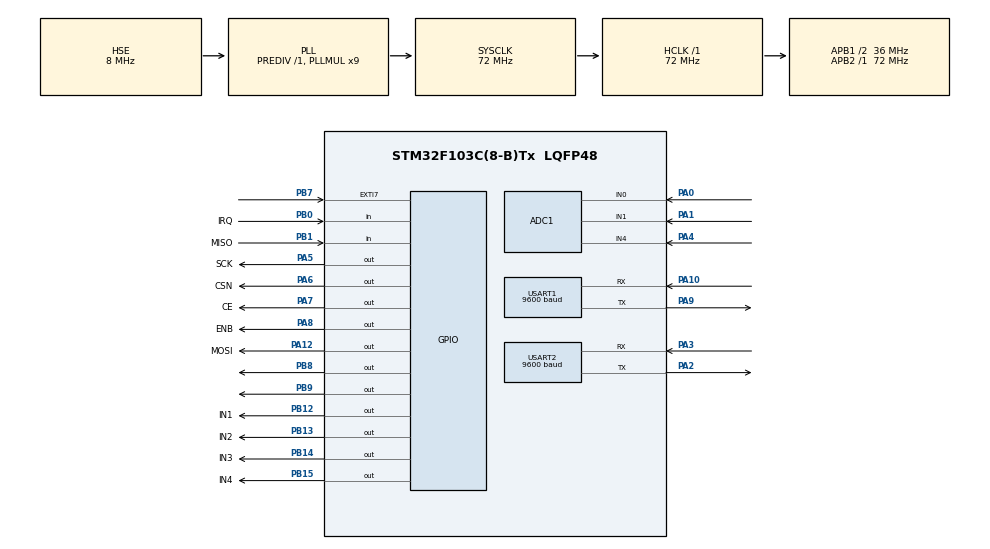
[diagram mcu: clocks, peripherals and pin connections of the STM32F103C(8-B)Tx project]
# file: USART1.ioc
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ADC1.Channel-0\#ChannelRegularConversion=ADC_CHANNEL_0
ADC1.Channel-1\#ChannelRegularConversion=ADC_CHANNEL_1
ADC1.Channel-2\#ChannelRegularConversion=ADC_CHANNEL_4
ADC1.Channel-3\#ChannelRegularConversion=ADC_CHANNEL_5
ADC1.Channel-4\#ChannelRegularConversion=ADC_CHANNEL_6
ADC1.DiscontinuousConvMode=ENABLE
ADC1.NbrOfConversion=5
ADC1.NbrOfConversionFlag=1
ADC1.Rank-0\#ChannelRegularConversion=1
ADC1.Rank-1\#ChannelRegularConversion=2
ADC1.Rank-2\#ChannelRegularConversion=3
ADC1.Rank-3\#ChannelRegularConversion=4
ADC1.Rank-4\#ChannelRegularConversion=5
ADC1.SamplingTime-0\#ChannelRegularConversion=ADC_SAMPLETIME_1CYCLE_5
ADC1.SamplingTime-1\#ChannelRegularConversion=ADC_SAMPLETIME_1CYCLE_5
ADC1.SamplingTime-2\#ChannelRegularConversion=ADC_SAMPLETIME_1CYCLE_5
ADC1.SamplingTime-3\#ChannelRegularConversion=ADC_SAMPLETIME_1CYCLE_5
ADC1.SamplingTime-4\#ChannelRegularConversion=ADC_SAMPLETIME_1CYCLE_5
ADC1.master=1
Dma.Request0=USART2_RX
Dma.USART2_RX.0.Direction=DMA_PERIPH_TO_MEMORY
Dma.USART2_RX.0.Instance=DMA1_Channel6
Dma.USART2_RX.0.MemDataAlignment=DMA_MDATAALIGN_BYTE
Dma.USART2_RX.0.MemInc=DMA_MINC_ENABLE
Dma.USART2_RX.0.Mode=DMA_NORMAL
Dma.USART2_RX.0.PeriphDataAlignment=DMA_PDATAALIGN_BYTE
Dma.USART2_RX.0.PeriphInc=DMA_PINC_DISABLE
Dma.USART2_RX.0.Priority=DMA_PRIORITY_LOW
FREERTOS.Tasks01=defaultTask,24,128,StartDefaultTask,Default,NULL,Dynamic,NULL,NULL
Mcu.Family=STM32F1
Mcu.Name=STM32F103C(8-B)Tx
Mcu.Package=LQFP48
NVIC.DMA1_Channel6_IRQn=true\:5\:0\:false\:false\:true\:true\:false\:true\:true
NVIC.EXTI9_5_IRQn=true\:5\:0\:false\:false\:true\:true\:true\:true\:true
NVIC.PriorityGroup=NVIC_PRIORITYGROUP_4
NVIC.TIM2_IRQn=true\:15\:0\:false\:false\:true\:false\:false\:true\:true
NVIC.TimeBase=TIM2_IRQn
NVIC.TimeBaseIP=TIM2
NVIC.USART1_IRQn=true\:5\:0\:false\:false\:true\:true\:true\:true\:true
NVIC.USART2_IRQn=true\:5\:0\:false\:false\:true\:true\:true\:true\:true
PA0-WKUP.Signal=ADCx_IN0
PA1.Signal=ADCx_IN1
PA10.Mode=Asynchronous
PA10.Signal=USART1_RX
PA12.GPIO_Label=MOSI
PA12.GPIO_Speed=GPIO_SPEED_FREQ_HIGH
PA12.Signal=GPIO_Output
PA13.Mode=Serial_Wire
PA13.Signal=SYS_JTMS-SWDIO
PA14.Mode=Serial_Wire
PA14.Signal=SYS_JTCK-SWCLK
PA2.Mode=Asynchronous
PA2.Signal=USART2_TX
PA3.Mode=Asynchronous
PA3.Signal=USART2_RX
PA4.Signal=ADCx_IN4
PA5.GPIO_Label=SCK
PA5.GPIO_Speed=GPIO_SPEED_FREQ_HIGH
PA5.Signal=GPIO_Output
PA6.GPIO_Label=CSN
PA6.GPIO_Speed=GPIO_SPEED_FREQ_HIGH
PA6.Signal=GPIO_Output
PA7.GPIO_Label=CE
PA7.GPIO_Speed=GPIO_SPEED_FREQ_HIGH
PA7.Signal=GPIO_Output
PA8.GPIO_Label=ENB
PA8.GPIO_ModeDefaultOutputPP=GPIO_MODE_OUTPUT_PP
PA8.Signal=GPIO_Output
PA9.Mode=Asynchronous
PA9.Signal=USART1_TX
PB0.GPIO_Label=IRQ
PB0.GPIO_PuPd=GPIO_PULLUP
PB0.Signal=GPIO_Input
PB1.GPIO_Label=MISO
PB1.GPIO_PuPd=GPIO_PULLUP
PB1.Signal=GPIO_Input
PB12.GPIO_Label=IN1
PB12.GPIO_ModeDefaultOutputPP=GPIO_MODE_OUTPUT_PP
PB12.GPIO_Speed=GPIO_SPEED_FREQ_LOW
PB12.PinState=GPIO_PIN_RESET
PB12.Signal=GPIO_Output
PB13.GPIO_Label=IN2
PB13.GPIO_ModeDefaultOutputPP=GPIO_MODE_OUTPUT_PP
PB13.Signal=GPIO_Output
PB14.GPIO_Label=IN3
PB14.Signal=GPIO_Output
PB15.GPIO_Label=IN4
PB15.GPIO_Speed=GPIO_SPEED_FREQ_LOW
PB15.Signal=GPIO_Output
PB7.GPIO_ModeDefaultEXTI=GPIO_MODE_IT_RISING
PB7.GPIO_PuPd=GPIO_PULLUP
PB7.Signal=GPXTI7
PB8.GPIO_ModeDefaultOutputPP=GPIO_MODE_OUTPUT_OD
PB8.GPIO_PuPd=GPIO_NOPULL
PB8.Signal=GPIO_Output
PB9.GPIO_ModeDefaultOutputPP=GPIO_MODE_OUTPUT_OD
PB9.GPIO_PuPd=GPIO_NOPULL
PB9.Signal=GPIO_Output
PC14-OSC32_IN.Mode=LSE-External-Oscillator
PC14-OSC32_IN.Signal=RCC_OSC32_IN
PC15-OSC32_OUT.Mode=LSE-External-Oscillator
PC15-OSC32_OUT.Signal=RCC_OSC32_OUT
PD0-OSC_IN.Mode=HSE-External-Oscillator
PD0-OSC_IN.Signal=RCC_OSC_IN
PD1-OSC_OUT.Mode=HSE-External-Oscillator
PD1-OSC_OUT.Signal=RCC_OSC_OUT
ProjectManager.HeapSize=0x200
ProjectManager.StackSize=0x400
ProjectManager.TargetToolchain=MDK-ARM V5.32
RCC.ADCPresc=RCC_ADCPCLK2_DIV6
RCC.AHBFreq_Value=72000000
RCC.APB1CLKDivider=RCC_HCLK_DIV2
RCC.APB1Freq_Value=36000000
RCC.APB1TimFreq_Value=72000000
RCC.APB2Freq_Value=72000000
RCC.APB2TimFreq_Value=72000000
RCC.HCLKFreq_Value=72000000
RCC.PLLMUL=RCC_PLL_MUL9
RCC.PLLSourceVirtual=RCC_PLLSOURCE_HSE
RCC.SYSCLKFreq_VALUE=72000000
RCC.SYSCLKSource=RCC_SYSCLKSOURCE_PLLCLK
RCC.USBFreq_Value=72000000
SH.ADCx_IN0.0=ADC1_IN0,IN0
SH.ADCx_IN1.0=ADC1_IN1,IN1
SH.ADCx_IN4.0=ADC1_IN4,IN4
USART1.BaudRate=9600
USART1.VirtualMode=VM_ASYNC
USART2.BaudRate=9600
USART2.VirtualMode=VM_ASYNC
VP_FREERTOS_VS_CMSIS_V2.Mode=CMSIS_V2
VP_SYS_VS_tim2.Mode=TIM2
board=custom

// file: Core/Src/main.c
/* USER CODE BEGIN Header */
/**
  ******************************************************************************
  * @file           : main.c
  * @brief          : Main program body
  ******************************************************************************
  * @attention
  *
  * Copyright (c) 2024 STMicroelectronics.
  * All rights reserved.
  *
  * This software is licensed under terms that can be found in the LICENSE file
  * in the root directory of this software component.
  * If no LICENSE file comes with this software, it is provided AS-IS.
  *
  ******************************************************************************
  */
/* USER CODE END Header */
#include "main.h"
#include "cmsis_os.h"
#include "adc.h"
#include "dma.h"
#include "usart.h"
#include "gpio.h"

/* USER CODE BEGIN Includes */
#include "OLED.h"
#include <stdio.h>
#include <string.h>
#include "LED.h"
#include "nbiotdriver.h"
#include "cjson.h"
#include "sensor.h"
#include "NRF24L01.h"
#include "L298N.h"
#include "ps.h"
#include "stdlib.h"
#include "unix.h"
/* USER CODE END Includes */

/* USER CODE BEGIN PTD */

void printf_show(void);
void Motor_show(void);

/* USER CODE END PTD */

void SystemClock_Config(void);
void MX_FREERTOS_Init(void);

/* USER CODE BEGIN 0 */
uint8_t count = 0;
uint8_t EXIT_Flag = 0;
extern TaskHandle_t  NB_IOT_task_handler;
extern uint8_t taskSuspend ;
/* USER CODE END 0 */

int main(void)
{

  /* MCU Configuration--------------------------------------------------------*/

  /* Reset of all peripherals, Initializes the Flash interface and the Systick. */
  HAL_Init();

  /* Configure the system clock */
  SystemClock_Config();

  /* Initialize all configured peripherals */
  MX_GPIO_Init();
  MX_DMA_Init();
  MX_USART1_UART_Init();
  MX_USART2_UART_Init();
  MX_ADC1_Init();
  /* USER CODE BEGIN 2 */
	uint32_t count = 0;
	HAL_ADCEx_Calibration_Start(&hadc1);
	OLED_Init();
    NRF24L01_Init();
	printf("system is ok!\r\n");
	printf("wait 5s NB!\r\n");
	cJSON_Hooks hooks;
	hooks.malloc_fn = pvPortMalloc;
	hooks.free_fn = vPortFree;
	cJSON_InitHooks(&hooks);
  /* USER CODE END 2 */

  /* Init scheduler */
  osKernelInitialize();

  /* Call init function for freertos objects (in freertos.c) */
  MX_FREERTOS_Init();

  /* Start scheduler */
  osKernelStart();

  /* We should never get here as control is now taken by the scheduler */
  /* Infinite loop */
  /* USER CODE BEGIN WHILE */
    while (1)
    {
		printf("count����%d\r\n",count++);
		HAL_Delay(4000);
//		printf("%s\r\n",cPrint);
//       Show_Sersor_Value();
//        if(R_IRQ() == 0)
//		{
//		  printf_show();
//		  Motor_show();
//		}
    /* USER CODE END WHILE */

    }
}

void SystemClock_Config(void)
{
  RCC_OscInitTypeDef RCC_OscInitStruct = {0};
  RCC_ClkInitTypeDef RCC_ClkInitStruct = {0};
  RCC_PeriphCLKInitTypeDef PeriphClkInit = {0};

  /** Initializes the RCC Oscillators according to the specified parameters
  * in the RCC_OscInitTypeDef structure.
  */
  RCC_OscInitStruct.OscillatorType = RCC_OSCILLATORTYPE_HSE;
  RCC_OscInitStruct.HSEState = RCC_HSE_ON;
  RCC_OscInitStruct.HSEPredivValue = RCC_HSE_PREDIV_DIV1;
  RCC_OscInitStruct.HSIState = RCC_HSI_ON;
  RCC_OscInitStruct.PLL.PLLState = RCC_PLL_ON;
  RCC_OscInitStruct.PLL.PLLSource = RCC_PLLSOURCE_HSE;
  RCC_OscInitStruct.PLL.PLLMUL = RCC_PLL_MUL9;
  if (HAL_RCC_OscConfig(&RCC_OscInitStruct) != HAL_OK)
  {
    Error_Handler();
  }

  /** Initializes the CPU, AHB and APB buses clocks
  */
  RCC_ClkInitStruct.ClockType = RCC_CLOCKTYPE_HCLK|RCC_CLOCKTYPE_SYSCLK
                              |RCC_CLOCKTYPE_PCLK1|RCC_CLOCKTYPE_PCLK2;
  RCC_ClkInitStruct.SYSCLKSource = RCC_SYSCLKSOURCE_PLLCLK;
  RCC_ClkInitStruct.AHBCLKDivider = RCC_SYSCLK_DIV1;
  RCC_ClkInitStruct.APB1CLKDivider = RCC_HCLK_DIV2;
  RCC_ClkInitStruct.APB2CLKDivider = RCC_HCLK_DIV1;

  if (HAL_RCC_ClockConfig(&RCC_ClkInitStruct, FLASH_LATENCY_2) != HAL_OK)
  {
    Error_Handler();
  }
  PeriphClkInit.PeriphClockSelection = RCC_PERIPHCLK_ADC;
  PeriphClkInit.AdcClockSelection = RCC_ADCPCLK2_DIV6;
  if (HAL_RCCEx_PeriphCLKConfig(&PeriphClkInit) != HAL_OK)
  {
    Error_Handler();
  }
}

/* USER CODE BEGIN 4 */
int fputc(int ch, FILE *f)
{
    HAL_UART_Transmit(&huart1, (uint8_t *)&ch, 1, 0xffff);
    return ch;
}

void HAL_GPIO_EXTI_Callback(uint16_t GPIO_Pin)
{

	if(GPIO_Pin == GPIO_PIN_7)
	{
	   BaseType_t xHigherPriorityTaskWoken = pdFALSE;
	   if(NB_IOT_task_handler != NULL)
	   {
	        if( xTaskResumeFromISR( NB_IOT_task_handler ) != pdFALSE )
			{
				xHigherPriorityTaskWoken = pdTRUE;
				printf("���񱻹��𣡣���\r\n");
				NB_Send_Data();
				taskSuspend = 0;
				portYIELD_FROM_ISR( xHigherPriorityTaskWoken );
			}
	   }

		count++;
		printf("count����%d��������\r\n",count) ;
	}

}

/* USER CODE END 4 */

void HAL_TIM_PeriodElapsedCallback(TIM_HandleTypeDef *htim)
{
  /* USER CODE BEGIN Callback 0 */
  uint8_t count = 0;

  /* USER CODE END Callback 0 */
  if (htim->Instance == TIM2) {
    HAL_IncTick();
  }
  /* USER CODE BEGIN Callback 1 */
//    if (htim->Instance == TIM2)
//   {
//		count++;
//     if(count == 4)
//	 {
//	    printf("2s �ж�  ��������\r\n") ;
//		count = 0;
//	 }
//
//    }
  /* USER CODE END Callback 1 */
}

void Error_Handler(void)
{
    __disable_irq();
    while (1)
    {
    }
}

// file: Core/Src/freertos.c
/* USER CODE BEGIN Header */
/**
  ******************************************************************************
  * File Name          : freertos.c
  * Description        : Code for freertos applications
  ******************************************************************************
  * @attention
  *
  * Copyright (c) 2024 STMicroelectronics.
  * All rights reserved.
  *
  * This software is licensed under terms that can be found in the LICENSE file
  * in the root directory of this software component.
  * If no LICENSE file comes with this software, it is provided AS-IS.
  *
  ******************************************************************************
  */
/* USER CODE END Header */

#include "FreeRTOS.h"
#include "task.h"
#include "main.h"
#include "cmsis_os.h"

/* USER CODE BEGIN Includes */
#include "semphr.h"
#include "queue.h"
#include "OLED.h"
#include "stdio.h"
#include "sensor.h"
#include "nbiotdriver.h"
#include "usart.h"
#include "cjson.h"
#include <string.h>
#include "NRF24L01.h"
#include "L298N.h"
/* USER CODE END Includes */

/* USER CODE BEGIN Variables */
void Motor_show(void);
void printf_show(void);
void Motor_Iot_show(void);
void printf_Iot_show(void);
/*任务配,堆栈内存大小,任务优先级*/

/*START_TASK任务,创建其他两个任务*/

void START_TASK( void * pvParameters );
#define START_TASK_PRIO         osPriorityNormal
#define START_TASK_STACK_SIZE   128
TaskHandle_t  START_TASK_handler;

void NB_IOT_task( void * pvParameters );
#define NB_IOT_task_PRIO         osPriorityNormal
#define NB_IOT_task_STACK_SIZE   1000
TaskHandle_t  NB_IOT_task_handler;

void Motor_task( void * pvParameters );
#define Motor_task_PRIO         osPriorityNormal + 2
#define Motor_task_STACK_SIZE   128
TaskHandle_t  Motor_task_handler;

void Sensor_task(void * pvParameters );
#define Sensor_task_PRIO         osPriorityNormal
#define Sensor_task_STACK_SIZE   128
TaskHandle_t  Sensor_task_handler;

void Resume_task2(void * pvParameters );
#define Resume_task2_PRIO         osPriorityNormal + 2
#define Resume_task2_STACK_SIZE   128
TaskHandle_t  Resume_task2_handler;

#define Xleft    	     1
#define Xright           2
#define Ybefore    	   	 3
#define Yaffer    		 4

uint8_t Buf[32] = {0} ;
extern uint8_t taskSuspend;
QueueHandle_t semphore_handle;
QueueHandle_t semphore_Flag_handle;
extern uint8_t send_data_flag;
extern uint8_t EXIT_Flag;
extern uint8_t Motor_Data;

/* USER CODE END Variables */
/* Definitions for defaultTask */
osThreadId_t defaultTaskHandle;
const osThreadAttr_t defaultTask_attributes = {
  .name = "defaultTask",
  .stack_size = 128 * 4,
  .priority = (osPriority_t) osPriorityNormal,
};

void StartDefaultTask(void *argument);

void MX_FREERTOS_Init(void); /* (MISRA C 2004 rule 8.1) */

void MX_FREERTOS_Init(void) {

  /* Create the thread(s) */
	semphore_handle = xSemaphoreCreateBinary();
	 if(semphore_handle != NULL)
	 {
		printf("二值信号量创建成功！！！！\r\n");
	 }
	 semphore_Flag_handle = xSemaphoreCreateBinary();
	 if(semphore_Flag_handle != NULL)
	 {
		printf("二值信号量创建成功！！！！\r\n");
	 }
  /* creation of defaultTask */
  defaultTaskHandle = osThreadNew(StartDefaultTask, NULL, &defaultTask_attributes);

  /* USER CODE BEGIN RTOS_THREADS */
    /* add threads, ... */
  xTaskCreate((TaskFunction_t)START_TASK,"START_TASK",START_TASK_STACK_SIZE,NULL,START_TASK_PRIO,&START_TASK_handler);
  /* USER CODE END RTOS_THREADS */

}

void StartDefaultTask(void *argument)
{
  /* USER CODE BEGIN StartDefaultTask */
//	OLED_Clear();
    uint32_t StartDefault_num = 0;
    uint32_t count = 0;

//
    /* Infinite loop */
    for(;;)
    {
		 printf("StartDefault运行次数:%d！！！!\r\n",++StartDefault_num);
         vTaskDelay(1000);
	}

//		OLED_ShowNum(2,1,count++,3);

  /* USER CODE END StartDefaultTask */
}

/* USER CODE BEGIN Application */

void START_TASK( void * pvParameters )
{
    taskENTER_CRITICAL();
    xTaskCreate((TaskFunction_t)NB_IOT_task,"NB_IOT_task",NB_IOT_task_STACK_SIZE,NULL,NB_IOT_task_PRIO,&NB_IOT_task_handler);
    xTaskCreate((TaskFunction_t)Sensor_task,"Sensor_task",Sensor_task_STACK_SIZE,NULL,Sensor_task_PRIO,&Sensor_task_handler);
	xTaskCreate((TaskFunction_t)Resume_task2,"Resume_task2",Resume_task2_STACK_SIZE,NULL,Resume_task2_PRIO,&Resume_task2_handler);
	xTaskCreate((TaskFunction_t)Motor_task,"Motor_task",Motor_task_STACK_SIZE,NULL,Motor_task_PRIO,&Motor_task_handler);
    vTaskDelete(NULL);
    taskEXIT_CRITICAL();
}

void NB_IOT_task( void * pvParameters )
{
    EnableUartIT();
    NB_Init();
	BaseType_t err = 0;
    while(1)
    {
	  NB_Task();
	  if(taskSuspend == 1)
	  {
		  if(semphore_Flag_handle != NULL)
		  {
				err = xSemaphoreGive(semphore_Flag_handle);
				if(err == pdPASS)
				{
					printf("信号量释放成功！！！\r\n");
				}
				else
				{
					printf("信号量释放失败！！！\r\n");
				}
		  }

	  }
      vTaskDelay(100);
    }

}

void Sensor_task (void * pvParameters )
{
    while(1)
    {
		Sersor_Value_test();
		vTaskDelay(4000);
    }
}

void Resume_task2(void * pvParameters )
{

   while(1)
   {
	 //一定时间后进行数据上报
	  if(xSemaphoreTake(semphore_Flag_handle, portMAX_DELAY) == pdTRUE)
	  {
		vTaskSuspend(NB_IOT_task_handler);
		printf("任务被挂起！！！\r\n");
		vTaskDelay(30000);
		vTaskResume(NB_IOT_task_handler);
		NB_Send_Data();
		taskSuspend = 0;
		printf("恢复task1！！！!\r\n");
	  }

	 vTaskDelay(100);
   }
}

void Motor_task( void * pvParameters )
{

	while(1)
	{
//        if (xSemaphoreTake(semphore_handle, portMAX_DELAY) == pdTRUE)
//		{
//			printf_Iot_show();
//			Motor_Iot_show();
//			Motor_Data = 0;
//		}
		//
		printf("Motor_task runing  !!!!\r\n");
		if(R_IRQ() == 0)
		{
		  printf_show();
		  Motor_show();
		}
		vTaskDelay(100);
	}
}

void printf_show(void)
{
	taskENTER_CRITICAL();
    Reveive(Buf);
	taskEXIT_CRITICAL();
    if(Buf[0] == Xleft)
    {
        printf("Xleft");
    }
    if(Buf[0] == Xright)
    {
        printf("Xright");
    }
    if(Buf[0] == Ybefore)
    {
        printf("Ybefore");
    }
    if(Buf[0] == Yaffer)
    {
        printf("Yaffer");
    }
    if(Buf[0] == 0)
    {
        printf("nochange");
    }

}

void Motor_show(void)
{
	taskENTER_CRITICAL();
    Reveive(Buf);
	taskEXIT_CRITICAL();
    if(Buf[0] == Xleft)
    {
        M1_Stop();
        M2_Forward();
    }
    if(Buf[0] == Xright)
    {
        M2_Stop();
        M1_Forward();
    }
    if(Buf[0] == Ybefore)
    {
        M1_Forward();
        M2_Forward();
    }
    if(Buf[0] == Yaffer)
    {
        M1_Stop();
        M2_Stop();
    }
    if(Buf[0] == 0)
    {
        M1_Stop();
        M2_Stop();
    }
}

void printf_Iot_show(void)
{

    if(Motor_Data == Xleft)
    {
        printf("Xleft");
    }
    if(Motor_Data == Xright)
    {
        printf("Xright");
    }
    if(Motor_Data == Ybefore)
    {
        printf("Ybefore");
    }
    if(Motor_Data == Yaffer)
    {
        printf("Yaffer");
    }
    if(Motor_Data == 0)
    {
        printf("nochange");
    }

}

void Motor_Iot_show(void)
{

    if(Motor_Data== Xleft)
    {
        M1_Stop();
        M2_Forward();
    }
    if(Motor_Data == Xright)
    {
        M2_Stop();
        M1_Forward();
    }
    if(Motor_Data == Ybefore)
    {
        M1_Forward();
        M2_Forward();
    }
    if(Motor_Data == Yaffer)
    {
        M1_Stop();
        M2_Stop();
    }
    if(Motor_Data == 0)
    {
        M1_Stop();
        M2_Stop();
    }
}

/* USER CODE END Application */
